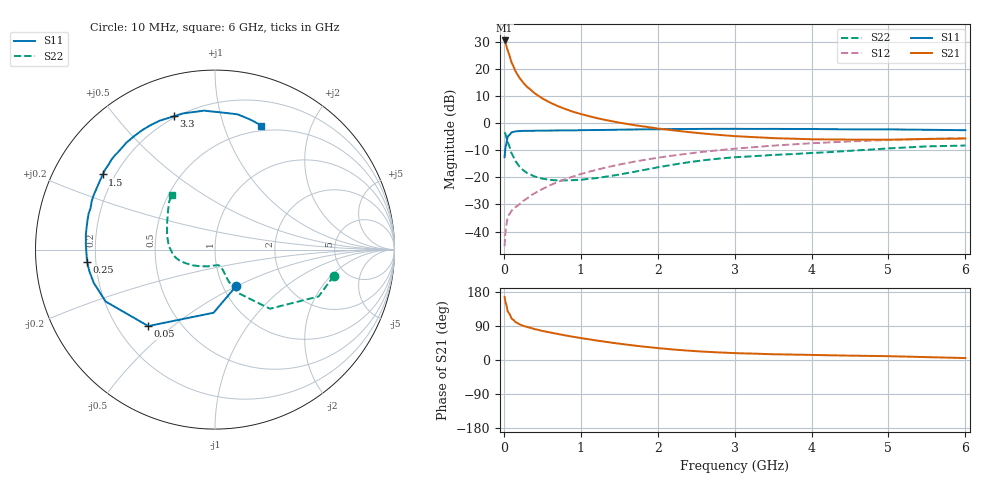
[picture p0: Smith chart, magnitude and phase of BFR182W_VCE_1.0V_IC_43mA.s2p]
! (c) 2017  Infineon Technologies AG, Munich
! Infineon Technologies  Discrete & RF Semiconductors
! BFR182W
! VCE =  1.0 V,  IC =  43 mA
! Common Emitter S-Parameters:  Jan 2017
# GHz  S  MA  R  50
!  f  S11  S21  S12  S22
! GHz  MAG  ANG  MAG  ANG  MAG  ANG  MAG  ANG
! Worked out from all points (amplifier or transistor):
!   77 points, 10 MHz to 6 GHz, reference 50 ohm
!   highest |S21| = 30.4 dB at 10 MHz (marker M1)
!   |S21| within 3 dB of that: start of sweep to 43.09 MHz
!   unconditionally stable (mu >= 1): start of sweep to 16.33 MHz; 164.6 MHz to end of sweep
!   at 130 MHz: K = 0.87, MSG = 26.0 dB, |S12| = -31.5 dB
!   at 2.2 GHz: K = 1.19, MAG = 2.0 dB, |S12| = -12.0 dB
!   at 6 GHz: K = 1.13, MAG = -2.3 dB, |S12| = -5.6 dB
!   S11 on the Smith chart (normalised r, x): 10 MHz: 1.15, -0.50; 50 MHz: 0.33, -0.41; 250 MHz: 0.17, -0.05; 1.5 GHz: 0.15, +0.30; 3.3 GHz: 0.19, +0.72; 6 GHz: 0.44, +1.35
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0.01  0.2356 -60.2  33.09 166.3  0.0054 63.6  0.678 -12.4
0.02  0.3519 -91.3  31.04 154.0  0.0094 66.1  0.6339 -24.3
0.05  0.5655 -131.1  21.73 128.2  0.0183 49.3  0.4498 -47.1
0.1  0.6745 -154.6  13.02 109.3  0.0242 46.9  0.2774 -61.4
0.15  0.7006 -164.7  9.064 100.4  0.0282 48.2  0.1994 -66.4
0.2  0.7104 -170.4  6.896 94.7  0.0317 53.1  0.1602 -67.9
0.25  0.7161 -174.6  5.566 90.3  0.0367 56.2  0.136 -68.3
0.3  0.7162 -177.7  4.653 87.2  0.0408 58.9  0.1206 -69.1
0.4  0.7202 177.4  3.526 81.5  0.0509 63.1  0.1035 -70.6
0.5  0.7243 173.4  2.836 76.8  0.0607 65.3  0.0946 -73.5
0.6  0.726 170.1  2.381 72.6  0.0714 67.2  0.0896 -77.2
0.7  0.729 167.1  2.052 68.8  0.082 68.2  0.0876 -80.7
0.9  0.731 161.3  1.611 61.4  0.1033 68.7  0.0888 -91.3
1.1  0.7407 156.1  1.345 54.8  0.1262 68.6  0.0937 -102.1
1.5  0.7528 146.2  1.016 43.1  0.1714 66.1  0.1124 -124.1
2.1  0.7692 132.0  0.763 29.6  0.2403 60.0  0.1615 -148.8
2.6  0.7793 121.2  0.639 22.0  0.2952 53.9  0.2064 -162.8
3.1  0.7792 111.1  0.564 17.6  0.3456 47.3  0.2382 -175.1
3.3  0.7775 107.2  0.545 16.5  0.3639 44.6  0.2475 180.0
4.1  0.773 93.0  0.5 13.0  0.4308 34.2  0.2848 159.9
5.1  0.7606 79.3  0.496 9.6  0.49 22.1  0.3468 138.6
6  0.7378 69.5  0.518 5.1  0.5272 12.4  0.3847 128.2
